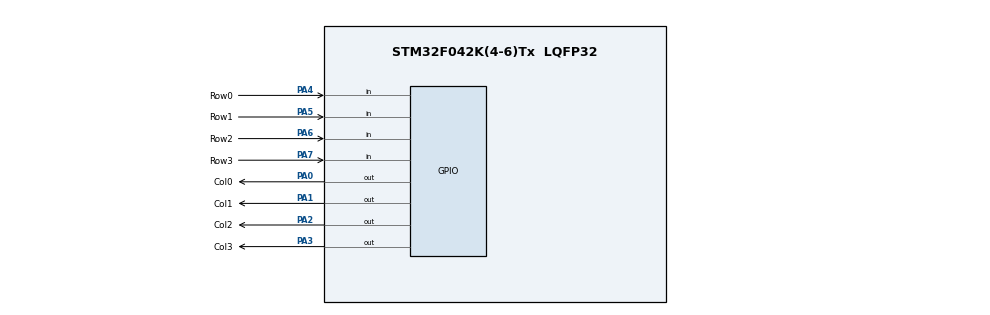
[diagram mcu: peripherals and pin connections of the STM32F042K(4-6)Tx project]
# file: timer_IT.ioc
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Mcu.Family=STM32F0
Mcu.Name=STM32F042K(4-6)Tx
Mcu.Package=LQFP32
NVIC.TIM3_IRQn=true\:0\:0\:false\:false\:true\:true\:true\:true
PA0.GPIO_Label=Col0
PA0.GPIO_ModeDefaultOutputPP=GPIO_MODE_OUTPUT_OD
PA0.GPIO_PuPd=GPIO_NOPULL
PA0.Signal=GPIO_Output
PA1.GPIO_Label=Col1
PA1.GPIO_ModeDefaultOutputPP=GPIO_MODE_OUTPUT_OD
PA1.GPIO_PuPd=GPIO_NOPULL
PA1.Signal=GPIO_Output
PA2.GPIO_Label=Col2
PA2.GPIO_ModeDefaultOutputPP=GPIO_MODE_OUTPUT_OD
PA2.GPIO_PuPd=GPIO_NOPULL
PA2.Signal=GPIO_Output
PA3.GPIO_Label=Col3
PA3.GPIO_ModeDefaultOutputPP=GPIO_MODE_OUTPUT_OD
PA3.GPIO_PuPd=GPIO_NOPULL
PA3.Signal=GPIO_Output
PA4.GPIO_Label=Row0
PA4.GPIO_PuPd=GPIO_PULLUP
PA4.Signal=GPIO_Input
PA5.GPIO_Label=Row1
PA5.GPIO_PuPd=GPIO_PULLUP
PA5.Signal=GPIO_Input
PA6.GPIO_Label=Row2
PA6.GPIO_PuPd=GPIO_PULLUP
PA6.Signal=GPIO_Input
PA7.GPIO_Label=Row3
PA7.GPIO_PuPd=GPIO_PULLUP
PA7.Signal=GPIO_Input
ProjectManager.HeapSize=0x200
ProjectManager.StackSize=0x400
ProjectManager.TargetToolchain=STM32CubeIDE
TIM3.Period=100-1
TIM3.Prescaler=48-1
VP_TIM3_VS_ClockSourceINT.Mode=Internal
board=custom

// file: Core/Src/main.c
/* USER CODE BEGIN Header */
/**
  ******************************************************************************
  * @file           : main.c
  * @brief          : Main program body
  ******************************************************************************
  * @attention
  *
  * Copyright (c) 2024 STMicroelectronics.
  * All rights reserved.
  *
  * This software is licensed under terms that can be found in the LICENSE file
  * in the root directory of this software component.
  * If no LICENSE file comes with this software, it is provided AS-IS.
  *
  ******************************************************************************
  */
/* USER CODE END Header */
#include "main.h"

TIM_HandleTypeDef htim3;

/* USER CODE BEGIN PV */
volatile int col = 0;
uint8_t buffer[] = {0, 0, 0};
uint8_t zero[] = {0, 0, 0};

/* USER CODE END PV */

void SystemClock_Config(void);
static void MX_GPIO_Init(void);
static void MX_TIM3_Init(void);
/* USER CODE BEGIN PFP */
void drive_column(void);
uint8_t read_rows(void);
/* USER CODE END PFP */

int main(void)
{

  /* MCU Configuration--------------------------------------------------------*/

  /* Reset of all peripherals, Initializes the Flash interface and the Systick. */
  HAL_Init();

  /* Configure the system clock */
  SystemClock_Config();

  /* Initialize all configured peripherals */
  MX_GPIO_Init();
  MX_TIM3_Init();
  /* USER CODE BEGIN 2 */
  GPIOA->BSRR = 0xf;
  GPIOA->BRR = 0x1;
  HAL_TIM_Base_Start_IT(&htim3);
  /* USER CODE END 2 */

  /* Infinite loop */
  while (1)
  {

  }
}

void SystemClock_Config(void)
{
  RCC_OscInitTypeDef RCC_OscInitStruct = {0};
  RCC_ClkInitTypeDef RCC_ClkInitStruct = {0};

  /** Initializes the RCC Oscillators according to the specified parameters
  * in the RCC_OscInitTypeDef structure.
  */
  RCC_OscInitStruct.OscillatorType = RCC_OSCILLATORTYPE_HSI;
  RCC_OscInitStruct.HSIState = RCC_HSI_ON;
  RCC_OscInitStruct.HSICalibrationValue = RCC_HSICALIBRATION_DEFAULT;
  RCC_OscInitStruct.PLL.PLLState = RCC_PLL_NONE;
  if (HAL_RCC_OscConfig(&RCC_OscInitStruct) != HAL_OK)
  {
    Error_Handler();
  }

  /** Initializes the CPU, AHB and APB buses clocks
  */
  RCC_ClkInitStruct.ClockType = RCC_CLOCKTYPE_HCLK|RCC_CLOCKTYPE_SYSCLK
                              |RCC_CLOCKTYPE_PCLK1;
  RCC_ClkInitStruct.SYSCLKSource = RCC_SYSCLKSOURCE_HSI;
  RCC_ClkInitStruct.AHBCLKDivider = RCC_SYSCLK_DIV1;
  RCC_ClkInitStruct.APB1CLKDivider = RCC_HCLK_DIV1;

  if (HAL_RCC_ClockConfig(&RCC_ClkInitStruct, FLASH_LATENCY_0) != HAL_OK)
  {
    Error_Handler();
  }
}

static void MX_TIM3_Init(void)
{

  TIM_ClockConfigTypeDef sClockSourceConfig = {0};
  TIM_MasterConfigTypeDef sMasterConfig = {0};

  htim3.Instance = TIM3;
  htim3.Init.Prescaler = 48-1;
  htim3.Init.CounterMode = TIM_COUNTERMODE_UP;
  htim3.Init.Period = 100-1;
  htim3.Init.ClockDivision = TIM_CLOCKDIVISION_DIV1;
  htim3.Init.AutoReloadPreload = TIM_AUTORELOAD_PRELOAD_DISABLE;
  if (HAL_TIM_Base_Init(&htim3) != HAL_OK)
  {
    Error_Handler();
  }
  sClockSourceConfig.ClockSource = TIM_CLOCKSOURCE_INTERNAL;
  if (HAL_TIM_ConfigClockSource(&htim3, &sClockSourceConfig) != HAL_OK)
  {
    Error_Handler();
  }
  sMasterConfig.MasterOutputTrigger = TIM_TRGO_RESET;
  sMasterConfig.MasterSlaveMode = TIM_MASTERSLAVEMODE_DISABLE;
  if (HAL_TIMEx_MasterConfigSynchronization(&htim3, &sMasterConfig) != HAL_OK)
  {
    Error_Handler();
  }

}

static void MX_GPIO_Init(void)
{
  GPIO_InitTypeDef GPIO_InitStruct = {0};

  /* GPIO Ports Clock Enable */
  __HAL_RCC_GPIOA_CLK_ENABLE();

  /*Configure GPIO pin Output Level */
  HAL_GPIO_WritePin(GPIOA, Col0_Pin|Col1_Pin|Col2_Pin|Col3_Pin, GPIO_PIN_RESET);

  /*Configure GPIO pins : Col0_Pin Col1_Pin Col2_Pin Col3_Pin */
  GPIO_InitStruct.Pin = Col0_Pin|Col1_Pin|Col2_Pin|Col3_Pin;
  GPIO_InitStruct.Mode = GPIO_MODE_OUTPUT_OD;
  GPIO_InitStruct.Pull = GPIO_NOPULL;
  GPIO_InitStruct.Speed = GPIO_SPEED_FREQ_LOW;
  HAL_GPIO_Init(GPIOA, &GPIO_InitStruct);

  /*Configure GPIO pins : Row0_Pin Row1_Pin Row2_Pin Row3_Pin */
  GPIO_InitStruct.Pin = Row0_Pin|Row1_Pin|Row2_Pin|Row3_Pin;
  GPIO_InitStruct.Mode = GPIO_MODE_INPUT;
  GPIO_InitStruct.Pull = GPIO_PULLUP;
  HAL_GPIO_Init(GPIOA, &GPIO_InitStruct);

}

/* USER CODE BEGIN 4 */
void drive_column(void) {
	col = (col + 1) & 0x3;
	GPIOA->BSRR = 0xf;
	GPIOA->BRR = 0x1 << col;
}

uint8_t read_rows(void) {
	return ~((GPIOA->IDR & 0xf0) >> 4) & 0xf;
}

void HAL_TIM_PeriodElapsedCallback(TIM_HandleTypeDef *htim) {
	if (htim == &htim3) {
		uint8_t rows = read_rows();
		int idx = col / 2;
		buffer[idx] &= ~(0xf << ((col % 2) * 4));
		buffer[idx] |= rows << ((col % 2) * 4);
		drive_column();
	}
}
/* USER CODE END 4 */

void Error_Handler(void)
{
  __disable_irq();
  while (1)
  {
  }
}
